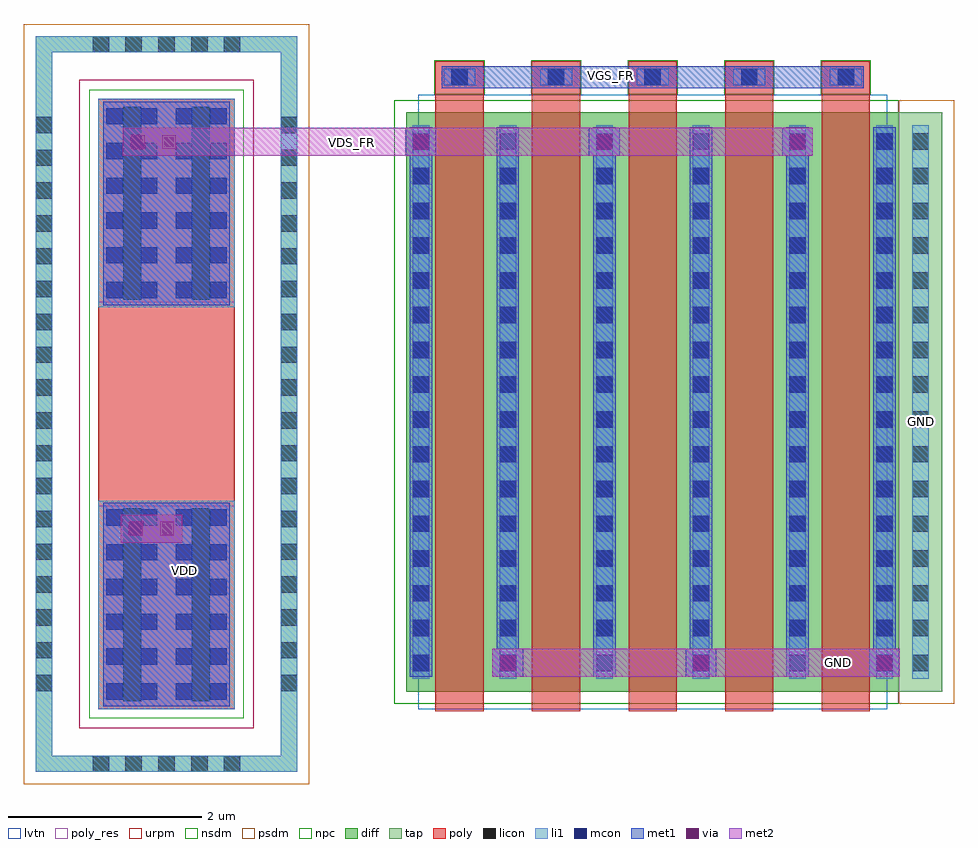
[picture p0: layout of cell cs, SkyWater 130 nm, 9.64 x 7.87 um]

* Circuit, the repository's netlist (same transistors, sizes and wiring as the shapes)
** sch_path: /foss/designs/cs_amp/schematic/cs.sch
.subckt cs vds_fr vdd vgs_fr
*.iopin vds_fr
*.ipin vdd
*.ipin vgs_fr
XM2 vds_fr vgs_fr GND GND sky130_fd_pr__nfet_01v8_lvt L=0.5 W=30 nf=5 ad='int((nf+1)/2) * W/nf * 0.29' as='int((nf+2)/2) * W/nf * 0.29'
+ pd='2*int((nf+1)/2) * (W/nf + 0.29)' ps='2*int((nf+2)/2) * (W/nf + 0.29)' nrd='0.29 / W' nrs='0.29 / W' sa=0 sb=0 sd=0 mult=1 m=1
XR2 vds_fr vdd GND sky130_fd_pr__res_xhigh_po_1p41 L=2.12 W=1.41 mult=1 m=1


.ends
.GLOBAL GND
.end

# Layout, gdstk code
import gdstk
lib = gdstk.Library(unit=1e-6, precision=1e-09)
def R(c, l, rs):  # rectangles x0, y0, x1, y1
    for r in rs: c.add(gdstk.rectangle(r[:2], r[2:], *l))
def A(c, l, x, y, w, h, nx, ny, dx, dy):  # array of equal rectangles
    R(c, l, [(x+i*dx, y+j*dy, x+i*dx+w, y+j*dy+h) for i in range(nx) for j in range(ny)])
diff = (65, 20)
tap = (65, 44)
poly_res = (66, 13)
poly = (66, 20)
licon = (66, 44)
li1 = (67, 20)
mcon = (67, 44)
met1 = (68, 20)
via = (68, 44)
met2 = (69, 20)
urpm = (79, 20)
nsdm = (93, 44)
psdm = (94, 20)
npc = (95, 20)
lvtn = (125, 44)

nfet = lib.new_cell('nfet')
R(nfet, diff, [(0,0,5.1,6)])
R(nfet, tap, [(5.1,0,5.55,6)])
A(nfet, poly, 0.3, -0.2, 0.5, 6.4, 5, 1, 1, 0)
A(nfet, poly, 0.3, 6.2, 0.5, 0.33, 5, 1, 1, 0)
A(nfet, licon, 0.065, 0.215, 0.17, 0.17, 1, 16, 0, 0.36)
A(nfet, licon, 0.965, 0.215, 0.17, 0.17, 4, 16, 1, 0.36)
A(nfet, licon, 4.865, 0.215, 0.17, 0.17, 1, 16, 0, 0.36)
A(nfet, licon, 5.24, 0.215, 0.17, 0.17, 1, 16, 0, 0.36)
A(nfet, licon, 0.465, 6.28, 0.17, 0.17, 5, 1, 1, 0)
A(nfet, li1, 0.965, 0.135, 0.17, 5.73, 4, 1, 1, 0)
A(nfet, li1, 0.385, 6.28, 0.33, 0.17, 5, 1, 1, 0)
R(nfet, li1, [(0.065,0.135,0.235,5.865), (4.865,0.135,5.035,5.865), (5.24,0.135,5.41,5.865)])
A(nfet, mcon, 0.065, 0.215, 0.17, 0.17, 1, 16, 0, 0.36)
A(nfet, mcon, 0.965, 0.215, 0.17, 0.17, 4, 16, 1, 0.36)
A(nfet, mcon, 4.865, 0.215, 0.17, 0.17, 1, 16, 0, 0.36)
A(nfet, mcon, 0.465, 6.28, 0.17, 0.17, 5, 1, 1, 0)
A(nfet, met1, 0.935, 0.155, 0.23, 5.69, 4, 1, 1, 0)
A(nfet, met1, 0.365, 6.25, 0.37, 0.23, 5, 1, 1, 0)
R(nfet, met1, [(0.035,0.155,0.265,5.845), (4.835,0.155,5.065,5.845)])
R(nfet, nsdm, [(-0.125,-0.125,5.1,6.125)])
R(nfet, psdm, [(5.1,-0.125,5.675,6.125)])
A(nfet, npc, 0.29, 6.19, 0.52, 0.35, 5, 1, 1, 0)
R(nfet, lvtn, [(0.12,-0.18,4.98,6.18)])

vias_gen = lib.new_cell('vias_gen')
R(vias_gen, met1, [(0,0,0.32,0.29)])
R(vias_gen, via, [(0.085,0.07,0.235,0.22)])
R(vias_gen, met2, [(0,0,0.32,0.29)])

res_poly_1 = lib.new_cell('res_poly$1')
R(res_poly_1, tap, [(-1.355,-3.81,1.355,-3.64), (-1.355,-3.64,-1.185,3.64), (1.185,-3.64,1.355,3.64), (-1.355,3.64,1.355,3.81)])
R(res_poly_1, poly_res, [(-0.705,-1.06,0.705,1.06)])
R(res_poly_1, poly, [(-0.705,-3.16,0.705,3.16)])
A(res_poly_1, licon, -0.765, -3.81, 0.17, 0.17, 5, 2, 0.34, 7.45)
A(res_poly_1, licon, -1.355, -2.975, 0.17, 0.17, 1, 18, 0, 0.34)
A(res_poly_1, licon, 1.185, -2.975, 0.17, 0.17, 1, 18, 0, 0.34)
R(res_poly_1, licon, [(-0.45,-3.08,-0.26,-1.08), (0.26,-3.08,0.45,-1.08), (-0.45,1.08,-0.26,3.08), (0.26,1.08,0.45,3.08)])
R(res_poly_1, li1, [(-1.355,-3.81,1.355,-3.64), (-1.355,-3.64,-1.185,3.64), (1.185,-3.64,1.355,3.64), (-0.705,-3.16,0.705,-1), (-0.705,1,0.705,3.16), (-1.355,3.64,1.355,3.81)])
A(res_poly_1, mcon, -0.625, -3.06, 0.17, 0.17, 4, 6, 0.36, 0.36)
A(res_poly_1, mcon, -0.625, 1.095, 0.17, 0.17, 4, 6, 0.36, 0.36)
R(res_poly_1, met1, [(-0.655,-3.13,0.655,-1.025), (-0.655,1.025,0.655,3.13)])
R(res_poly_1, urpm, [(-0.905,-3.36,0.905,3.36)])
R(res_poly_1, psdm, [(-1.48,-3.935,1.48,3.935)])
R(res_poly_1, npc, [(-0.8,-3.255,0.8,3.255)])

c_cs = lib.new_cell('cs')
c_cs.add(gdstk.FlexPath([(3.127,4.97),(6.805,4.97)], 0.23, ends="flush", simple_path=True, layer=68, datatype=20))  # met1
c_cs.add(gdstk.FlexPath([(6.63,4.3),(-0.2,4.3)], 0.29, ends="flush", simple_path=True, layer=69, datatype=20))  # met2
c_cs.add(gdstk.FlexPath([(7.21,-1.095),(3.31,-1.095),(3.31,-1.095)], 0.29, ends="flush", simple_path=True, layer=69, datatype=20))  # met2
c_cs.add(gdstk.Reference(nfet, (2.42,-1.395)))
r = gdstk.Reference(vias_gen, (3.31,-1.24)); r.repetition = gdstk.Repetition(2, 1, v1=(2,0), v2=(0,0)); c_cs.add(r)
r = gdstk.Reference(vias_gen, (4.31,4.155)); r.repetition = gdstk.Repetition(1, 1, v1=(0,0), v2=(0,0)); c_cs.add(r)
r = gdstk.Reference(vias_gen, (2.41,4.155)); r.repetition = gdstk.Repetition(1, 1, v1=(0,0), v2=(0,0)); c_cs.add(r)
r = gdstk.Reference(vias_gen, (-0.22,0.15)); r.repetition = gdstk.Repetition(1, 1, v1=(0,0), v2=(0,0)); c_cs.add(r)
r = gdstk.Reference(vias_gen, (-0.54,0.15)); r.repetition = gdstk.Repetition(1, 1, v1=(0,0), v2=(0,0)); c_cs.add(r)
r = gdstk.Reference(vias_gen, (-0.2,4.155)); r.repetition = gdstk.Repetition(1, 1, v1=(0,0), v2=(0,0)); c_cs.add(r)
r = gdstk.Reference(vias_gen, (-0.52,4.155)); r.repetition = gdstk.Repetition(1, 1, v1=(0,0), v2=(0,0)); c_cs.add(r)
c_cs.add(gdstk.Reference(res_poly_1, (-0.065,1.585)))
r = gdstk.Reference(vias_gen, (7.21,-1.24)); r.repetition = gdstk.Repetition(1, 1, v1=(0,0), v2=(0,0)); c_cs.add(r)
r = gdstk.Reference(vias_gen, (6.31,4.155)); r.repetition = gdstk.Repetition(1, 1, v1=(0,0), v2=(0,0)); c_cs.add(r)
c_cs.add(gdstk.Label('GND', (6.89,-1.095), layer=69, texttype=5))
c_cs.add(gdstk.Label('VDS_FR', (1.85,4.295), layer=69, texttype=5))
c_cs.add(gdstk.Label('VGS_FR', (4.535,4.99), layer=68, texttype=5))
c_cs.add(gdstk.Label('VDD', (0.125,-0.135), layer=68, texttype=5))
c_cs.add(gdstk.Label('GND', (7.755,1.4), layer=67, texttype=5))

lib.write_gds('cs.gds')
